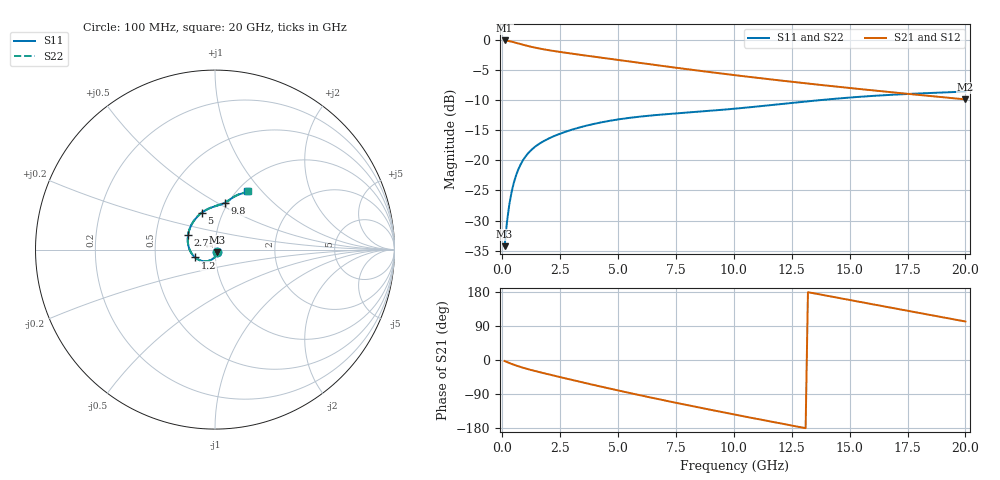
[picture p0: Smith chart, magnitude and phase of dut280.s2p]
! Touchstone file exported from HFSS 2023.1.0
!  File:  D:/Users/fzz/RDL_TSV/temp_RDL_TSV_280_1778762703.aedt
!  Generated:  8:57:04 %x4E0B%x5348  5%x6708 14, 2026
!  Design:  RDL_TSV
!  Project:  temp_RDL_TSV_280_1778762703
!  Setup:  Setup1
!  Solution:  Sweep
! Variables:
!  dtsv = 28.84um
!  hbump = 3um
!  htsv = 82.73um
!  ldown = 139.56um
!  lrdl = 507.34um
!  p = 40
!  p1 = 59.77um
!  rhole = 10um
!  subl = 2448.04um
!  t = 450um
!  tdown = 2.23um
!  trdl = 4.89um
!  viad = 10um
!  wdown = 21.87um
!  wrdl = 13.82um
!  xbump = 18um
# GHz S MA R 50.000000
! Terminal data exported
! Port[1] = TM1_1_T1
! Port[2] = TM1_4_T1
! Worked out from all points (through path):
!   200 points, 100 MHz to 20 GHz, reference 50 ohm
!   highest |S21| = -0.14 dB at 100 MHz (marker M1); lowest = -9.9 dB at 20 GHz (marker M2)
!   group delay of S21, straight-line fit = 34.3 ps
!   lowest |S11| = -34.2 dB at 100 MHz (marker M3), VSWR 1.04, Z = 51.2 - j1.56 ohm
!   |S11| at or under -10 dB: start of sweep to 13.81 GHz
!   |S22| runs from -34.3 to -8.6 dB; largest |S21 - S12| = 9.4e-15
!   S11 on the Smith chart (normalised r, x): 100 MHz: 1.02, -0.03; 1.2 GHz: 0.80, -0.07; 2.7 GHz: 0.73, +0.13; 5 GHz: 0.80, +0.34; 9.8 GHz: 0.96, +0.54; 20 GHz: 1.11, +0.83
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0.1  0.01939 -51.9  0.9845 -2.7  0.9845 -2.7  0.01939 -51.9
! Gamma 0 0 0 0
! Port Impedance 50 0 50 0
0.2  0.03054 -77.6  0.9796 -5.3  0.9796 -5.3  0.03055 -77.6
0.3  0.04259 -93.0  0.9721 -7.8  0.9721 -7.8  0.04259 -93.0
0.4  0.05431 -104.4  0.9627 -10.2  0.9627 -10.2  0.0543 -104.5
0.5  0.06531 -113.9  0.9519 -12.5  0.9519 -12.5  0.06529 -113.9
0.8  0.09293 -136.2  0.9175 -18.6  0.9175 -18.6  0.09291 -136.3
1.2  0.1189 -158.5  0.8766 -25.6  0.8766 -25.6  0.1189 -158.6
1.8  0.1445 177.0  0.8304 -34.9  0.8304 -34.9  0.1447 176.9
2.7  0.1715 150.7  0.7799 -48.1  0.7799 -48.1  0.1719 150.6
3.5  0.1907 133.3  0.7425 -59.5  0.7425 -59.5  0.1913 133.2
4.2  0.2048 121.1  0.7119 -69.4  0.7119 -69.4  0.2056 121.0
5  0.2179 109.8  0.6785 -80.3  0.6785 -80.3  0.2189 109.7
6.8  0.2384 92.3  0.6094 -104.1  0.6094 -104.1  0.2396 92.1
8.3  0.251 83.7  0.5586 -122.9  0.5586 -122.9  0.2523 83.5
9.8  0.265 78.4  0.5142 -141.2  0.5142 -141.2  0.2663 78.3
10.1  0.2682 77.6  0.5059 -144.8  0.5059 -144.8  0.2695 77.5
11.7  0.2878 74.0  0.4656 -163.6  0.4656 -163.6  0.289 73.8
13.4  0.3108 70.5  0.4282 176.7  0.4282 176.7  0.3121 70.4
15.1  0.3321 67.0  0.3954 157.2  0.3954 157.2  0.3337 67.0
16.7  0.348 64.1  0.368 139.1  0.368 139.1  0.3499 64.1
18.3  0.3599 62.0  0.3435 120.9  0.3435 120.9  0.3621 62.0
20  0.371 61.0  0.3196 101.6  0.3196 101.6  0.3736 60.9
